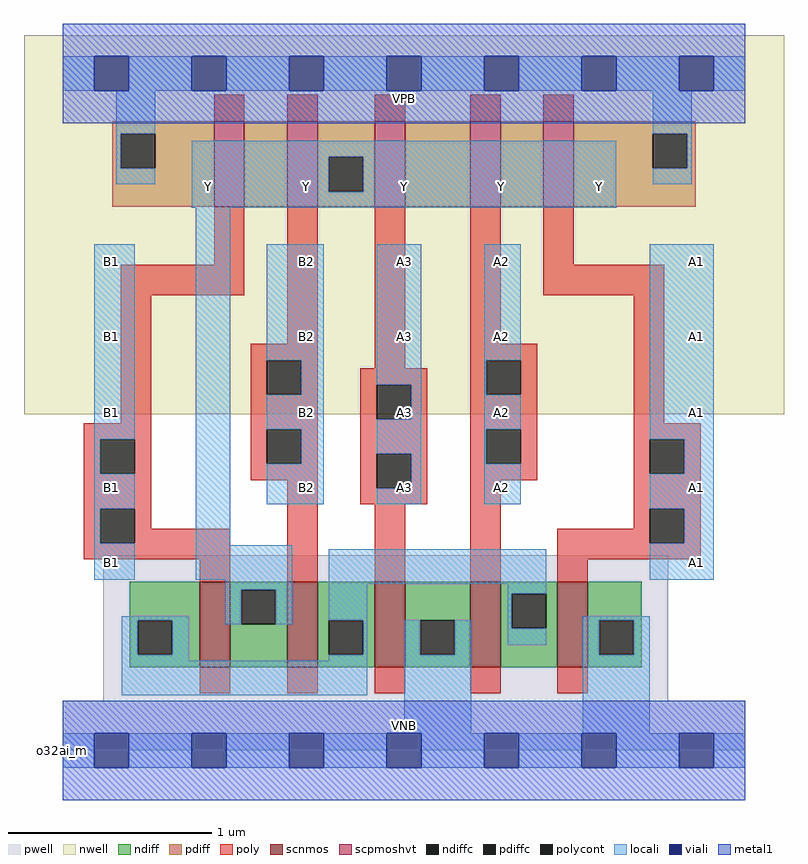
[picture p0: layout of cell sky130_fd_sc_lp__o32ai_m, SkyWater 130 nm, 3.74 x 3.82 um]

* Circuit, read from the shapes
.subckt sky130_fd_sc_lp__o32ai_m A1 A2 A3 B1 B2 VGND VNB VPB VPWR Y
XM1 Y B1 n1 VNB sky130_fd_pr__nfet_01v8 w=0.42 l=0.15
XM2 n1 B2 Y VNB sky130_fd_pr__nfet_01v8 w=0.42 l=0.15
XM3 VGND A3 n1 VNB sky130_fd_pr__nfet_01v8 w=0.42 l=0.15
XM4 n1 A2 VGND VNB sky130_fd_pr__nfet_01v8 w=0.42 l=0.15
XM5 VGND A1 n1 VNB sky130_fd_pr__nfet_01v8 w=0.42 l=0.15
XM6 n2 B1 VPWR VPB sky130_fd_pr__pfet_01v8_hvt w=0.42 l=0.15
XM7 Y B2 n2 VPB sky130_fd_pr__pfet_01v8_hvt w=0.42 l=0.15
XM8 n3 A3 Y VPB sky130_fd_pr__pfet_01v8_hvt w=0.42 l=0.15
XM9 n4 A2 n3 VPB sky130_fd_pr__pfet_01v8_hvt w=0.42 l=0.15
XM10 VPWR A1 n4 VPB sky130_fd_pr__pfet_01v8_hvt w=0.42 l=0.15
.ends

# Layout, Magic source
magic
tech sky130A
magscale 1 2
<< nwell >>
rect -38 331 710 704
<< pwell >>
rect 40 49 596 192
rect 0 0 672 49
<< scnmos >>
rect 135 82 165 166
rect 221 82 251 166
rect 307 82 337 166
rect 401 82 431 166
rect 487 82 517 166
<< scpmoshvt >>
rect 149 535 179 619
rect 221 535 251 619
rect 307 535 337 619
rect 401 535 431 619
rect 473 535 503 619
<< ndiff >>
rect 66 128 135 166
rect 66 94 74 128
rect 108 94 135 128
rect 66 82 135 94
rect 165 158 221 166
rect 165 124 176 158
rect 210 124 221 158
rect 165 82 221 124
rect 251 128 307 166
rect 251 94 262 128
rect 296 94 307 128
rect 251 82 307 94
rect 337 128 401 166
rect 337 94 352 128
rect 386 94 401 128
rect 337 82 401 94
rect 431 154 487 166
rect 431 120 442 154
rect 476 120 487 154
rect 431 82 487 120
rect 517 128 570 166
rect 517 94 528 128
rect 562 94 570 128
rect 517 82 570 94
<< pdiff >>
rect 49 607 149 619
rect 49 573 57 607
rect 91 573 149 607
rect 49 535 149 573
rect 179 535 221 619
rect 251 584 307 619
rect 251 550 262 584
rect 296 550 307 584
rect 251 535 307 550
rect 337 535 401 619
rect 431 535 473 619
rect 503 607 623 619
rect 503 573 581 607
rect 615 573 623 607
rect 503 535 623 573
<< ndiffc >>
rect 74 94 108 128
rect 176 124 210 158
rect 262 94 296 128
rect 352 94 386 128
rect 442 120 476 154
rect 528 94 562 128
<< pdiffc >>
rect 57 573 91 607
rect 262 550 296 584
rect 581 573 615 607
<< poly >>
rect 149 619 179 645
rect 221 619 251 645
rect 307 619 337 645
rect 401 619 431 645
rect 473 619 503 645
rect 149 478 179 535
rect 57 448 179 478
rect 57 322 87 448
rect 221 400 251 535
rect 21 306 87 322
rect 21 272 37 306
rect 71 272 87 306
rect 21 238 87 272
rect 185 384 251 400
rect 185 350 201 384
rect 235 350 251 384
rect 307 376 337 535
rect 401 400 431 535
rect 473 478 503 535
rect 473 448 592 478
rect 401 384 467 400
rect 185 316 251 350
rect 185 282 201 316
rect 235 282 251 316
rect 185 266 251 282
rect 21 204 37 238
rect 71 218 87 238
rect 71 204 165 218
rect 21 188 165 204
rect 135 166 165 188
rect 221 166 251 266
rect 293 360 359 376
rect 293 326 309 360
rect 343 326 359 360
rect 293 292 359 326
rect 293 258 309 292
rect 343 258 359 292
rect 293 242 359 258
rect 401 350 417 384
rect 451 350 467 384
rect 401 316 467 350
rect 401 282 417 316
rect 451 282 467 316
rect 401 266 467 282
rect 562 322 592 448
rect 562 306 628 322
rect 562 272 578 306
rect 612 272 628 306
rect 307 166 337 242
rect 401 166 431 266
rect 562 238 628 272
rect 562 218 578 238
rect 487 204 578 218
rect 612 204 628 238
rect 487 188 628 204
rect 487 166 517 188
rect 135 56 165 82
rect 221 56 251 82
rect 307 56 337 82
rect 401 56 431 82
rect 487 56 517 82
<< polycont >>
rect 37 272 71 306
rect 201 350 235 384
rect 201 282 235 316
rect 37 204 71 238
rect 309 326 343 360
rect 309 258 343 292
rect 417 350 451 384
rect 417 282 451 316
rect 578 272 612 306
rect 578 204 612 238
<< locali >>
rect 0 649 31 683
rect 65 649 127 683
rect 161 649 223 683
rect 257 649 319 683
rect 353 649 415 683
rect 449 649 511 683
rect 545 649 607 683
rect 641 649 672 683
rect 53 607 91 649
rect 53 573 57 607
rect 581 607 619 649
rect 53 557 91 573
rect 127 584 545 600
rect 127 550 262 584
rect 296 550 545 584
rect 615 573 619 607
rect 581 557 619 573
rect 127 534 545 550
rect 31 306 71 498
rect 31 272 37 306
rect 31 238 71 272
rect 31 204 37 238
rect 31 168 71 204
rect 131 202 165 534
rect 201 384 257 498
rect 235 350 257 384
rect 201 316 257 350
rect 235 282 257 316
rect 201 242 257 282
rect 309 360 353 498
rect 343 326 353 360
rect 309 292 353 326
rect 343 258 353 292
rect 309 242 353 258
rect 415 384 451 498
rect 415 350 417 384
rect 415 316 451 350
rect 415 282 417 316
rect 415 242 451 282
rect 578 306 641 498
rect 612 272 641 306
rect 578 238 641 272
rect 612 204 641 238
rect 131 168 226 202
rect 160 158 226 168
rect 58 128 124 132
rect 58 94 74 128
rect 108 94 124 128
rect 160 124 176 158
rect 210 124 226 158
rect 262 164 476 198
rect 578 168 641 204
rect 262 128 300 164
rect 438 154 476 164
rect 58 88 124 94
rect 296 94 300 128
rect 262 88 300 94
rect 58 54 300 88
rect 336 94 352 128
rect 386 94 402 128
rect 438 120 442 154
rect 438 104 476 120
rect 512 128 578 132
rect 336 17 402 94
rect 512 94 528 128
rect 562 94 578 128
rect 512 17 578 94
rect 0 -17 31 17
rect 65 -17 127 17
rect 161 -17 223 17
rect 257 -17 319 17
rect 353 -17 415 17
rect 449 -17 511 17
rect 545 -17 607 17
rect 641 -17 672 17
<< viali >>
rect 31 649 65 683
rect 127 649 161 683
rect 223 649 257 683
rect 319 649 353 683
rect 415 649 449 683
rect 511 649 545 683
rect 607 649 641 683
rect 31 -17 65 17
rect 127 -17 161 17
rect 223 -17 257 17
rect 319 -17 353 17
rect 415 -17 449 17
rect 511 -17 545 17
rect 607 -17 641 17
<< metal1 >>
rect 0 683 672 715
rect 0 649 31 683
rect 65 649 127 683
rect 161 649 223 683
rect 257 649 319 683
rect 353 649 415 683
rect 449 649 511 683
rect 545 649 607 683
rect 641 649 672 683
rect 0 617 672 649
rect 0 17 672 49
rect 0 -17 31 17
rect 65 -17 127 17
rect 161 -17 223 17
rect 257 -17 319 17
rect 353 -17 415 17
rect 449 -17 511 17
rect 545 -17 607 17
rect 641 -17 672 17
rect 0 -49 672 -17
<< labels >>
flabel pwell s 0 0 672 49 0 FreeSans 200 0 0 0 VNB
port 7 nsew ground bidirectional
flabel nwell s 0 617 672 666 0 FreeSans 200 0 0 0 VPB
port 8 nsew power bidirectional
rlabel comment s 0 0 0 0 4 o32ai_m
flabel metal1 s 0 617 672 666 0 FreeSans 340 0 0 0 VPWR
port 9 nsew power bidirectional
flabel metal1 s 0 0 672 49 0 FreeSans 340 0 0 0 VGND
port 6 nsew ground bidirectional
flabel locali s 607 168 641 202 0 FreeSans 340 0 0 0 A1
port 1 nsew signal input
flabel locali s 607 242 641 276 0 FreeSans 340 0 0 0 A1
port 1 nsew signal input
flabel locali s 607 316 641 350 0 FreeSans 340 0 0 0 A1
port 1 nsew signal input
flabel locali s 607 390 641 424 0 FreeSans 340 0 0 0 A1
port 1 nsew signal input
flabel locali s 607 464 641 498 0 FreeSans 340 0 0 0 A1
port 1 nsew signal input
flabel locali s 415 242 449 276 0 FreeSans 340 0 0 0 A2
port 2 nsew signal input
flabel locali s 415 316 449 350 0 FreeSans 340 0 0 0 A2
port 2 nsew signal input
flabel locali s 415 390 449 424 0 FreeSans 340 0 0 0 A2
port 2 nsew signal input
flabel locali s 415 464 449 498 0 FreeSans 340 0 0 0 A2
port 2 nsew signal input
flabel locali s 319 242 353 276 0 FreeSans 340 0 0 0 A3
port 3 nsew signal input
flabel locali s 319 316 353 350 0 FreeSans 340 0 0 0 A3
port 3 nsew signal input
flabel locali s 319 390 353 424 0 FreeSans 340 0 0 0 A3
port 3 nsew signal input
flabel locali s 319 464 353 498 0 FreeSans 340 0 0 0 A3
port 3 nsew signal input
flabel locali s 31 168 65 202 0 FreeSans 340 0 0 0 B1
port 4 nsew signal input
flabel locali s 31 242 65 276 0 FreeSans 340 0 0 0 B1
port 4 nsew signal input
flabel locali s 31 316 65 350 0 FreeSans 340 0 0 0 B1
port 4 nsew signal input
flabel locali s 31 390 65 424 0 FreeSans 340 0 0 0 B1
port 4 nsew signal input
flabel locali s 31 464 65 498 0 FreeSans 340 0 0 0 B1
port 4 nsew signal input
flabel locali s 223 242 257 276 0 FreeSans 340 0 0 0 B2
port 5 nsew signal input
flabel locali s 223 316 257 350 0 FreeSans 340 0 0 0 B2
port 5 nsew signal input
flabel locali s 223 390 257 424 0 FreeSans 340 0 0 0 B2
port 5 nsew signal input
flabel locali s 223 464 257 498 0 FreeSans 340 0 0 0 B2
port 5 nsew signal input
flabel locali s 127 538 161 572 0 FreeSans 340 0 0 0 Y
port 10 nsew signal output
flabel locali s 223 538 257 572 0 FreeSans 340 0 0 0 Y
port 10 nsew signal output
flabel locali s 319 538 353 572 0 FreeSans 340 0 0 0 Y
port 10 nsew signal output
flabel locali s 415 538 449 572 0 FreeSans 340 0 0 0 Y
port 10 nsew signal output
flabel locali s 511 538 545 572 0 FreeSans 340 0 0 0 Y
port 10 nsew signal output
<< properties >>
string LEFsite unit
string LEFclass CORE
string FIXED_BBOX 0 0 672 666
string GDS_FILE $PDKPATH/libs.ref/sky130_fd_sc_lp/gds/sky130_fd_sc_lp.gds
string LEFsymmetry X Y R90
string GDS_END 2020070
string GDS_START 2011630
<< end >>
